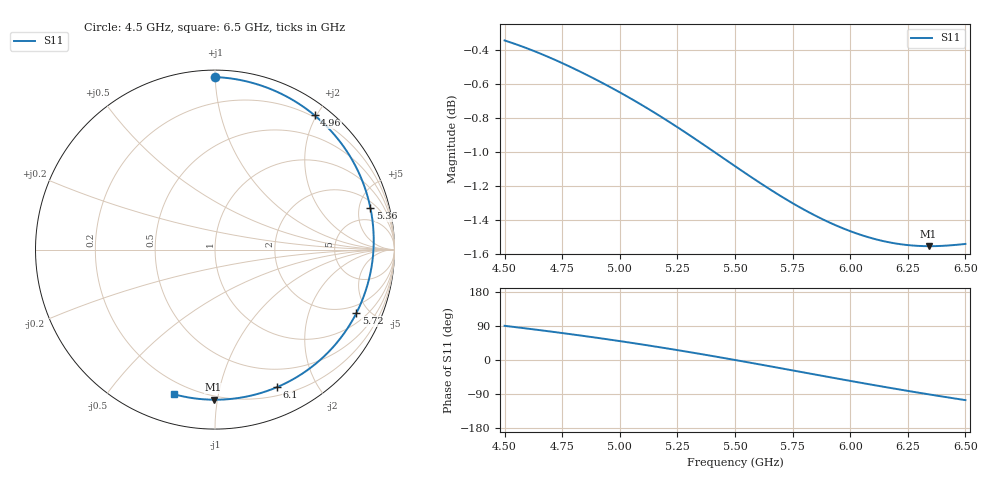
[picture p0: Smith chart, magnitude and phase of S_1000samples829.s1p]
! TOUCHSTONE file generated by CST MICROWAVE STUDIO
! Date and time: Sat Oct 29 13:01:25 2022
! Project name: L.cst
! Parameters = {Di=1.27; Epsilon_r=1.56; InnerDiameter=1.27; Length=2; Lf=10; Lg=60; OuterConductorThickness=0.2921; OuterDiameter=3.6; Wf=3; Wp=41.2; de=1.5; df=6.8; g=0.8; gx=3.45964; gy=2.47304; h=2.34; hf=1.524; px=8.92293; py=8.24856; w=9.7; wx=5.46329; wy=5.77552}
! Header version: 2018
! Port assignment regex: !\s*Touchstone port\s*([0-9]+)\s*=\s*(CST MWS port|CST DS port)\s*([0-9]+|Zmin|Zmax)\s*\(\"(.*)\"\)(\s*mode\s*([0-9]+))?.*
! Touchstone port assignment:
! Touchstone port 1 = CST MWS port 1 ("")
# GHz S DB R 50
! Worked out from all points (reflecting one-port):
!   101 points, 4.5 GHz to 6.5 GHz, reference 50 ohm
!   lowest |S11| = -1.6 dB at 6.34 GHz (marker M1), VSWR 11.22, Z = 8.76 - j48.8 ohm
!   phase of S11 starts at 90 deg and turns -196 deg over the sweep
!   S11 on the Smith chart (normalised r, x): 4.5 GHz: 0.04, +1.00; 4.96 GHz: 0.17, +1.98; 5.36 GHz: 2.78, +6.50; 5.72 GHz: 1.50, -4.17; 6.1 GHz: 0.29, -1.50; 6.5 GHz: 0.14, -0.75
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4.5  -0.34 90.2
4.58  -0.38 84.3
4.64  -0.41 79.8
4.76  -0.48 70.3
4.86  -0.55 62.0
4.96  -0.62 53.4
5  -0.65 49.8
5.12  -0.74 38.7
5.2  -0.81 31.0
5.26  -0.86 25.1
5.36  -0.95 14.9
5.44  -1.03 6.5
5.5  -1.08 0.0
5.54  -1.12 -4.3
5.6  -1.17 -10.8
5.66  -1.22 -17.5
5.72  -1.28 -24.1
5.76  -1.31 -28.6
5.82  -1.35 -35.2
5.88  -1.39 -41.9
5.94  -1.43 -48.5
6  -1.46 -55.1
6.1  -1.51 -65.9
6.18  -1.53 -74.3
6.26  -1.55 -82.5
6.34  -1.55 -90.5
6.42  -1.55 -98.3
6.5  -1.54 -105.8
